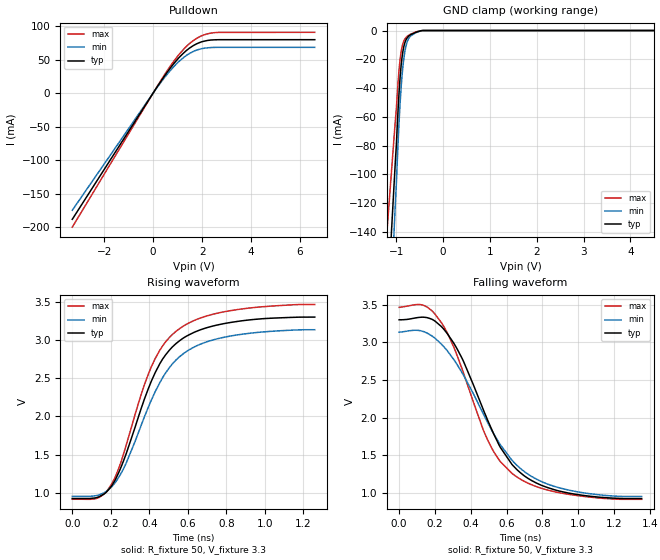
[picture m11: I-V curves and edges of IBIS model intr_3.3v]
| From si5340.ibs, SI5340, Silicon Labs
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[Model]   intr_3.3v
Model_type Open_drain
Vref=3.300E+00
Rref=1.000E+03
Cref=5.000E-12
Vmeas=1.650E+00
C_comp   1.080E-12   1.060E-12   1.100E-12
[Voltage Range]   3.300E+00   3.135E+00   3.465E+00
[POWER Clamp Reference]   3.300E+00   3.135E+00   3.465E+00
[GND Clamp Reference]   0.000E+00   0.000E+00   0.000E+00
[Pullup Reference]   3.300E+00   3.135E+00   3.465E+00
[Pulldown Reference]   0.000E+00   0.000E+00   0.000E+00
[Temperature Range]   25   85   -40
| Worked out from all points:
|   slope of the pulldown table from 0 to 0.495 V, typ, clamps not added: 18.3 ohm
|   GND clamp passes 1 mA (typ) near -0.56 V on its own axis
|   rising waveform, R_fixture 50, V_fixture 3.3: 20-80 % time 228ps typ, 244ps min, 223ps max; typ from 0.927 V to 3.3 V
|   falling waveform, R_fixture 50, V_fixture 3.3: 20-80 % time 281ps typ, 323ps min, 261ps max; typ from 3.3 V to 0.927 V
[GND Clamp]
-3.3V     -1.436A    -1.717A    -1.045A
-1.02V    -89.67mA   -118.9mA   -61.49mA
-1V       -79.39mA   -106.1mA   -54.31mA
-960mV    -52.63mA   -75.46mA   -34.11mA
-940mV    -41.54mA   -62.01mA   -26.18mA
-920mV    -32.26mA   -50.2mA    -19.87mA
-880mV    -18.89mA   -31.67mA   -11.54mA
-840mV    -11.04mA   -19.21mA   -7.246mA
-800mV    -6.875mA   -11.49mA   -5.071mA
-700mV    -2.952mA   -3.837mA   -2.595mA
-440mV    0A         0A         0A
6.6V      0A         0A         0A
[Pulldown]
-3.3V     -188.2mA   -174.7mA   -199.9mA
360mV     19.94mA    18.11mA    21.32mA
620mV     33.41mA    30.21mA    35.92mA
960mV     48.94mA    43.88mA    53.13mA
1.22V     58.86mA    52.3mA     64.31mA
1.48V     66.98mA    59.06mA    73.72mA
1.76V     73.17mA    63.92mA    81.22mA
1.98V     76.46mA    66.2mA     85.47mA
2.24V     78.61mA    67.6mA     88.58mA
2.54V     79.53mA    68.19mA    90.25mA
6.6V      79.69mA    68.26mA    90.65mA
[Rising Waveform]
R_fixture = 50
V_fixture = 3.3
V_fixture_min = 3.135
V_fixture_max = 3.465
0s        926.8mV    954.8mV    917.3mV
130ps     941.6mV    967.6mV    931.2mV
200ps     1.076V     1.068V     1.098V
280ps     1.511V     1.389V     1.623V
410ps     2.457V     2.209V     2.645V
470ps     2.753V     2.51V      2.925V
540ps     2.956V     2.742V     3.116V
645ps     3.114V     2.923V     3.268V
780ps     3.211V     3.032V     3.365V
1.26ns    3.3V       3.135V     3.465V
[Falling Waveform]
R_fixture = 50
V_fixture = 3.3
V_fixture_min = 3.135
V_fixture_max = 3.465
0s        3.3V       3.135V     3.465V
140ps     3.334V     3.14V      3.488V
255ps     3.159V     2.928V     3.189V
360ps     2.746V     2.563V     2.59V
495ps     1.965V     1.935V     1.703V
560ps     1.63V      1.661V     1.435V
630ps     1.382V     1.437V     1.262V
740ps     1.167V     1.221V     1.111V
890ps     1.03V      1.073V     1.007V
1.355ns   926.8mV    954.8mV    917.3mV
[Ramp]
dV/dt_r   1.4239E+00/2.2710E-10   1.3081E+00/2.4390E-10   1.5286E+00/2.2210E-10
dV/dt_f   1.4239E+00/2.7949E-10   1.3081E+00/3.2274E-10   1.5286E+00/2.6045E-10
R_load = 50
